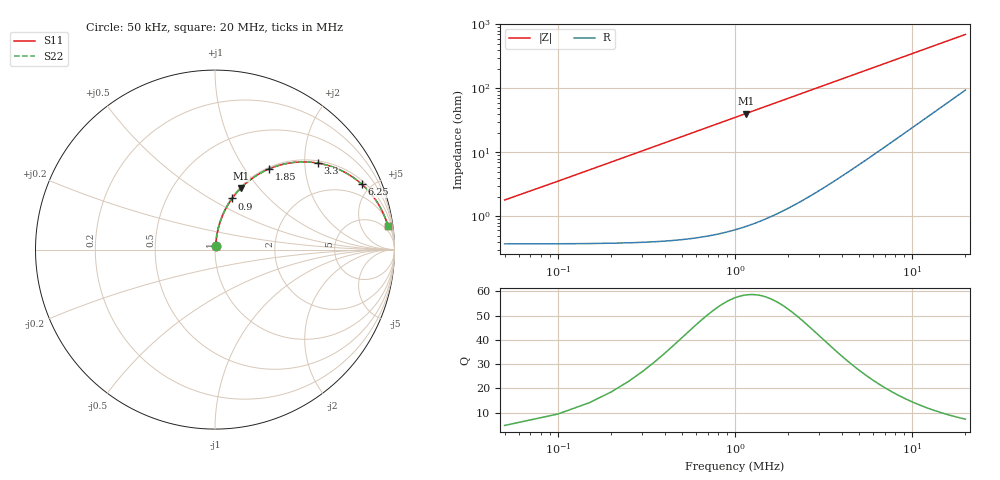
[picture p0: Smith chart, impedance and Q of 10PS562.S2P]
! Coilcraft 1008PS-562 Power Chip Inductor
! 7 October 2002
# MHZ S MA R 50
!Freq  MagS11  AngS11  MagS21  AngS21  MagS12  AngS12  MagS22  AngS22
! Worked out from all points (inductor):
!   400 points, 50 kHz to 20 MHz, reference 50 ohm
!   read as one part in series: L = 5.6 uH near 150 kHz
!   highest Q = 58.4 at 1.15 MHz (marker M1), where L = 5.6 uH
!   S11 on the Smith chart (normalised r, x): 50 kHz: 1.01, +0.04; 900 kHz: 1.01, +0.63; 1.85 MHz: 1.02, +1.30; 3.3 MHz: 1.06, +2.32; 6.25 MHz: 1.19, +4.39; 20 MHz: 3, +14
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0.05  0.01791 77.1  0.9962 -1.0  0.9962 -1.0  0.01791 77.1
0.1  0.03524 82.0  0.9957 -2.0  0.9957 -2.0  0.03524 82.0
0.15  0.05266 82.9  0.9949 -3.0  0.9949 -3.0  0.05266 82.9
0.2  0.07006 82.9  0.9938 -4.0  0.9938 -4.0  0.07006 82.9
0.3  0.1047 81.9  0.9906 -6.0  0.9906 -6.0  0.1047 81.9
0.4  0.1389 80.4  0.9863 -8.0  0.9863 -8.0  0.1389 80.4
0.55  0.1893 77.8  0.9776 -10.9  0.9776 -10.9  0.1893 77.8
0.7  0.2382 75.1  0.9665 -13.8  0.9665 -13.8  0.2382 75.1
0.9  0.3005 71.5  0.9484 -17.5  0.9484 -17.5  0.3005 71.5
1.15  0.373 67.1  0.9215 -21.9  0.9215 -21.9  0.373 67.1
1.45  0.4515 62.2  0.8845 -26.8  0.8845 -26.8  0.4515 62.2
1.85  0.5411 56.2  0.831 -32.8  0.831 -32.8  0.5411 56.2
2.5  0.6537 48.0  0.7429 -40.8  0.7429 -40.8  0.6537 48.0
3.3  0.7483 40.1  0.6443 -48.4  0.6443 -48.4  0.7483 40.1
3.4  0.7575 39.3  0.6331 -49.2  0.6331 -49.2  0.7575 39.3
4.65  0.8406 30.9  0.5138 -57.2  0.5138 -57.2  0.8406 30.9
6.25  0.8954 24.0  0.4074 -63.5  0.4074 -63.5  0.8954 24.0
6.7  0.9053 22.6  0.3842 -64.7  0.3842 -64.7  0.9053 22.6
10.05  0.9451 15.5  0.2678 -70.5  0.2678 -70.5  0.9451 15.5
13.35  0.9602 11.8  0.2052 -73.0  0.2052 -73.0  0.9602 11.8
16.7  0.9676 9.5  0.1657 -74.0  0.1657 -74.0  0.9676 9.5
20  0.9716 7.9  0.1393 -74.3  0.1393 -74.3  0.9716 7.9
